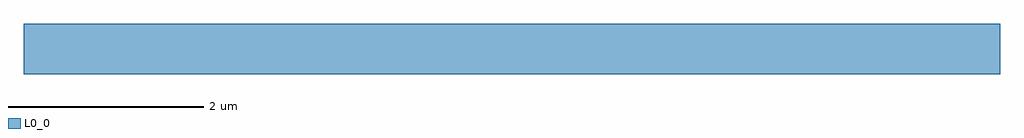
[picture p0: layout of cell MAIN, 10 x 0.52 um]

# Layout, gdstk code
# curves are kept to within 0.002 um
import gdstk
lib = gdstk.Library(unit=1e-6, precision=1e-09)
def R(c, l, rs):  # rectangles x0, y0, x1, y1
    for r in rs: c.add(gdstk.rectangle(r[:2], r[2:], *l))
def P(c, l, *ps):  # polygons
    for p in ps: c.add(gdstk.Polygon(p, *l))
L0_0 = (0, 0)

main = lib.new_cell('MAIN')
R(main, L0_0, [(-5,-0.26,5,0.26)])
P(main, L0_0, [(0.169,0.033),(0.169,0.032),(0.168,0.032),(0.167,0.03),(0.167,0.028),(0.166,0.028),(0.166,0.026),(0.165,0.026),(0.165,0.024),(0.164,0.024),(0.164,0.021),(0.163,0.021),(0.163,0.018),(0.162,0.018),(0.162,0.014),(0.161,0.014),(0.161,0.008),(0.16,0.008),(0.16,-0.008),(0.161,-0.008),(0.161,-0.014),(0.162,-0.014),(0.162,-0.018),(0.163,-0.018),(0.164,-0.024),(0.165,-0.024),(0.165,-0.026),(0.166,-0.026),(0.166,-0.028),(0.167,-0.028),(0.167,-0.03),(0.168,-0.032),(0.169,-0.032),(0.169,-0.033)],
  [(0.193,0.056),(0.185,0.052),(0.169,0.034),(0.169,-0.034),(0.191,-0.056),(0.193,-0.056)],
  [(0.225,0.065),(0.211,0.064),(0.193,0.057),(0.193,-0.057),(0.217,-0.065),(0.225,-0.065)],
  [(0.225,-0.065),(0.239,-0.064),(0.257,-0.057),(0.257,0.057),(0.233,0.065),(0.225,0.065)],
  [(0.258,-0.056),(0.265,-0.052),(0.281,-0.034),(0.281,0.034),(0.259,0.056),(0.257,0.056)],
  [(0.281,-0.032),(0.282,-0.032),(0.283,-0.028),(0.284,-0.028),(0.284,-0.026),(0.285,-0.026),(0.285,-0.024),(0.286,-0.024),(0.286,-0.021),(0.287,-0.021),(0.287,-0.018),(0.288,-0.018),(0.288,-0.014),(0.289,-0.014),(0.289,-0.008),(0.29,-0.008),(0.29,0.008),(0.289,0.008),(0.289,0.014),(0.288,0.014),(0.288,0.018),(0.287,0.018),(0.286,0.024),(0.285,0.024),(0.285,0.026),(0.284,0.026),(0.284,0.028),(0.283,0.028),(0.283,0.03),(0.282,0.032),(0.281,0.032),(0.281,0.033)],
  [(-0.281,0.033),(-0.281,0.032),(-0.282,0.032),(-0.283,0.03),(-0.283,0.028),(-0.284,0.028),(-0.284,0.026),(-0.285,0.026),(-0.285,0.024),(-0.286,0.024),(-0.286,0.021),(-0.287,0.021),(-0.287,0.018),(-0.288,0.018),(-0.288,0.014),(-0.289,0.014),(-0.289,0.008),(-0.29,0.008),(-0.29,-0.008),(-0.289,-0.008),(-0.289,-0.014),(-0.288,-0.014),(-0.288,-0.018),(-0.287,-0.018),(-0.286,-0.024),(-0.285,-0.024),(-0.285,-0.026),(-0.284,-0.026),(-0.284,-0.028),(-0.283,-0.028),(-0.283,-0.03),(-0.282,-0.032),(-0.281,-0.032),(-0.281,-0.033)],
  [(-0.257,0.056),(-0.265,0.052),(-0.281,0.034),(-0.281,-0.034),(-0.259,-0.056),(-0.257,-0.056)],
  [(-0.225,0.065),(-0.239,0.064),(-0.257,0.057),(-0.257,-0.057),(-0.233,-0.065),(-0.225,-0.065)],
  [(-0.225,-0.065),(-0.211,-0.064),(-0.193,-0.057),(-0.193,0.057),(-0.217,0.065),(-0.225,0.065)],
  [(-0.192,-0.056),(-0.185,-0.052),(-0.169,-0.034),(-0.169,0.034),(-0.191,0.056),(-0.193,0.056)],
  [(-0.169,-0.032),(-0.168,-0.032),(-0.167,-0.028),(-0.166,-0.028),(-0.166,-0.026),(-0.165,-0.026),(-0.165,-0.024),(-0.164,-0.024),(-0.164,-0.021),(-0.163,-0.021),(-0.163,-0.018),(-0.162,-0.018),(-0.162,-0.014),(-0.161,-0.014),(-0.161,-0.008),(-0.16,-0.008),(-0.16,0.008),(-0.161,0.008),(-0.161,0.014),(-0.162,0.014),(-0.162,0.018),(-0.163,0.018),(-0.164,0.024),(-0.165,0.024),(-0.165,0.026),(-0.166,0.026),(-0.166,0.028),(-0.167,0.028),(-0.167,0.03),(-0.168,0.032),(-0.169,0.032),(-0.169,0.033)],
  [(0.546,-0.08),(0.554,-0.08),(0.554,-0.079),(0.56,-0.079),(0.56,-0.078),(0.568,-0.077),(0.574,-0.075),(0.574,-0.074),(0.579,-0.073),(0.579,-0.072),(0.581,-0.072),(0.581,-0.071),(0.583,-0.071),(0.583,-0.07),(0.585,-0.069),(0.505,-0.069),(0.507,-0.07),(0.507,-0.071),(0.511,-0.072),(0.511,-0.073),(0.516,-0.074),(0.516,-0.075),(0.522,-0.077),(0.53,-0.078),(0.53,-0.079),(0.536,-0.079),(0.536,-0.08)],
  [(0.586,-0.069),(0.602,-0.057),(0.614,-0.04),(0.476,-0.04),(0.488,-0.057),(0.504,-0.069)],
  [(0.615,-0.039),(0.622,-0.023),(0.625,0),(0.465,0),(0.468,-0.023),(0.476,-0.04)],
  [(0.625,0.001),(0.622,0.023),(0.614,0.04),(0.476,0.04),(0.465,0.009),(0.465,0)],
  [(0.614,0.04),(0.602,0.057),(0.586,0.069),(0.504,0.069),(0.488,0.057),(0.476,0.041)],
  [(0.585,0.069),(0.583,0.07),(0.583,0.071),(0.579,0.072),(0.579,0.073),(0.574,0.074),(0.574,0.075),(0.564,0.078),(0.56,0.078),(0.56,0.079),(0.554,0.079),(0.554,0.08),(0.536,0.08),(0.536,0.079),(0.53,0.079),(0.53,0.078),(0.526,0.078),(0.516,0.075),(0.516,0.074),(0.511,0.073),(0.511,0.072),(0.509,0.072),(0.509,0.071),(0.507,0.071),(0.507,0.07),(0.505,0.069)],
  [(-0.544,-0.08),(-0.536,-0.08),(-0.536,-0.079),(-0.53,-0.079),(-0.53,-0.078),(-0.522,-0.077),(-0.516,-0.075),(-0.516,-0.074),(-0.511,-0.073),(-0.511,-0.072),(-0.509,-0.072),(-0.509,-0.071),(-0.507,-0.071),(-0.507,-0.07),(-0.505,-0.069),(-0.585,-0.069),(-0.583,-0.07),(-0.583,-0.071),(-0.579,-0.072),(-0.579,-0.073),(-0.574,-0.074),(-0.574,-0.075),(-0.568,-0.077),(-0.56,-0.078),(-0.56,-0.079),(-0.554,-0.079),(-0.554,-0.08)],
  [(-0.504,-0.069),(-0.488,-0.057),(-0.476,-0.04),(-0.614,-0.04),(-0.602,-0.057),(-0.586,-0.069)],
  [(-0.475,-0.039),(-0.468,-0.023),(-0.465,0),(-0.625,0),(-0.622,-0.023),(-0.614,-0.04)],
  [(-0.465,0.001),(-0.468,0.023),(-0.476,0.04),(-0.614,0.04),(-0.625,0.009),(-0.625,0)],
  [(-0.476,0.04),(-0.488,0.057),(-0.504,0.069),(-0.586,0.069),(-0.602,0.057),(-0.614,0.041)],
  [(-0.505,0.069),(-0.507,0.07),(-0.507,0.071),(-0.511,0.072),(-0.511,0.073),(-0.516,0.074),(-0.516,0.075),(-0.526,0.078),(-0.53,0.078),(-0.53,0.079),(-0.536,0.079),(-0.536,0.08),(-0.554,0.08),(-0.554,0.079),(-0.56,0.079),(-0.56,0.078),(-0.564,0.078),(-0.574,0.075),(-0.574,0.074),(-0.579,0.073),(-0.579,0.072),(-0.581,0.072),(-0.581,0.071),(-0.583,0.071),(-0.583,0.07),(-0.585,0.069)],
  [(0.886,-0.095),(0.895,-0.095),(0.895,-0.094),(0.902,-0.094),(0.902,-0.093),(0.914,-0.091),(0.914,-0.09),(0.922,-0.088),(0.922,-0.087),(0.924,-0.087),(0.924,-0.086),(0.926,-0.086),(0.933,-0.082),(0.837,-0.082),(0.844,-0.086),(0.846,-0.086),(0.846,-0.087),(0.848,-0.087),(0.848,-0.088),(0.856,-0.09),(0.856,-0.091),(0.868,-0.093),(0.868,-0.094),(0.875,-0.094),(0.875,-0.095)],
  [(0.933,-0.082),(0.955,-0.065),(0.967,-0.047),(0.803,-0.047),(0.815,-0.065),(0.837,-0.082)],
  [(0.968,-0.047),(0.976,-0.029),(0.98,0),(0.79,0),(0.794,-0.029),(0.802,-0.047)],
  [(0.98,0.001),(0.976,0.029),(0.968,0.047),(0.802,0.047),(0.794,0.029),(0.79,0.01),(0.79,0)],
  [(0.967,0.048),(0.955,0.065),(0.933,0.082),(0.837,0.082),(0.815,0.065),(0.803,0.047)],
  [(0.932,0.082),(0.932,0.083),(0.924,0.086),(0.922,0.088),(0.917,0.089),(0.917,0.09),(0.902,0.093),(0.902,0.094),(0.895,0.094),(0.895,0.095),(0.868,0.094),(0.868,0.093),(0.853,0.09),(0.853,0.089),(0.848,0.088),(0.848,0.087),(0.846,0.087),(0.846,0.086),(0.844,0.086),(0.837,0.082)],
  [(-0.884,-0.095),(-0.875,-0.095),(-0.875,-0.094),(-0.868,-0.094),(-0.868,-0.093),(-0.856,-0.091),(-0.856,-0.09),(-0.848,-0.088),(-0.848,-0.087),(-0.846,-0.087),(-0.846,-0.086),(-0.844,-0.086),(-0.837,-0.082),(-0.933,-0.082),(-0.926,-0.086),(-0.924,-0.086),(-0.924,-0.087),(-0.922,-0.087),(-0.922,-0.088),(-0.914,-0.09),(-0.914,-0.091),(-0.902,-0.093),(-0.902,-0.094),(-0.895,-0.094),(-0.895,-0.095)],
  [(-0.837,-0.082),(-0.815,-0.065),(-0.803,-0.047),(-0.967,-0.047),(-0.955,-0.065),(-0.933,-0.082)],
  [(-0.802,-0.047),(-0.794,-0.029),(-0.79,0),(-0.98,0),(-0.976,-0.029),(-0.968,-0.047)],
  [(-0.79,0.001),(-0.794,0.029),(-0.802,0.047),(-0.968,0.047),(-0.976,0.029),(-0.98,0.01),(-0.98,0)],
  [(-0.803,0.048),(-0.815,0.065),(-0.837,0.082),(-0.933,0.082),(-0.955,0.065),(-0.967,0.047)],
  [(-0.838,0.082),(-0.838,0.083),(-0.846,0.086),(-0.848,0.088),(-0.853,0.089),(-0.853,0.09),(-0.868,0.093),(-0.868,0.094),(-0.875,0.094),(-0.875,0.095),(-0.902,0.094),(-0.902,0.093),(-0.917,0.09),(-0.917,0.089),(-0.922,0.088),(-0.922,0.087),(-0.924,0.087),(-0.924,0.086),(-0.926,0.086),(-0.933,0.082)],
  [(1.159,0.05),(1.156,0.047),(1.151,0.033),(1.15,0.033),(1.145,0.009),(1.145,-0.009),(1.147,-0.022),(1.148,-0.022),(1.15,-0.033),(1.151,-0.033),(1.152,-0.038),(1.158,-0.05),(1.159,-0.05)],
  [(1.195,0.087),(1.178,0.075),(1.159,0.051),(1.159,-0.051),(1.17,-0.067),(1.195,-0.087)],
  [(1.245,0.1),(1.219,0.097),(1.195,0.087),(1.195,-0.087),(1.212,-0.095),(1.236,-0.1),(1.245,-0.1)],
  [(1.246,-0.1),(1.271,-0.097),(1.295,-0.087),(1.295,0.087),(1.278,0.095),(1.254,0.1),(1.245,0.1)],
  [(1.295,-0.086),(1.312,-0.075),(1.331,-0.051),(1.331,0.051),(1.32,0.067),(1.295,0.087)],
  [(1.332,-0.05),(1.338,-0.038),(1.339,-0.033),(1.34,-0.033),(1.342,-0.022),(1.343,-0.022),(1.345,-0.009),(1.345,0.009),(1.34,0.033),(1.339,0.033),(1.334,0.047),(1.331,0.05),(1.331,-0.05)],
  [(-1.331,0.05),(-1.334,0.047),(-1.339,0.033),(-1.34,0.033),(-1.345,0.009),(-1.345,-0.009),(-1.343,-0.022),(-1.342,-0.022),(-1.34,-0.033),(-1.339,-0.033),(-1.338,-0.038),(-1.332,-0.05),(-1.331,-0.05)],
  [(-1.295,0.087),(-1.312,0.075),(-1.331,0.051),(-1.331,-0.051),(-1.32,-0.067),(-1.295,-0.087)],
  [(-1.245,0.1),(-1.271,0.097),(-1.295,0.087),(-1.295,-0.087),(-1.278,-0.095),(-1.254,-0.1),(-1.245,-0.1)],
  [(-1.244,-0.1),(-1.219,-0.097),(-1.195,-0.087),(-1.195,0.087),(-1.212,0.095),(-1.236,0.1),(-1.245,0.1)],
  [(-1.195,-0.086),(-1.178,-0.075),(-1.159,-0.051),(-1.159,0.051),(-1.17,0.067),(-1.195,0.087)],
  [(-1.158,-0.05),(-1.152,-0.038),(-1.151,-0.033),(-1.15,-0.033),(-1.148,-0.022),(-1.147,-0.022),(-1.145,-0.009),(-1.145,0.009),(-1.15,0.033),(-1.151,0.033),(-1.156,0.047),(-1.159,0.05),(-1.159,-0.05)],
  [(1.529,0.05),(1.526,0.047),(1.521,0.033),(1.52,0.033),(1.515,0.009),(1.515,-0.009),(1.517,-0.022),(1.518,-0.022),(1.52,-0.033),(1.521,-0.033),(1.522,-0.038),(1.528,-0.05),(1.529,-0.05)],
  [(1.565,0.087),(1.548,0.075),(1.529,0.051),(1.529,-0.051),(1.54,-0.067),(1.565,-0.087)],
  [(1.615,0.1),(1.589,0.097),(1.565,0.087),(1.565,-0.087),(1.582,-0.095),(1.606,-0.1),(1.615,-0.1)],
  [(1.616,-0.1),(1.641,-0.097),(1.665,-0.087),(1.665,0.087),(1.648,0.095),(1.624,0.1),(1.615,0.1)],
  [(1.665,-0.086),(1.682,-0.075),(1.701,-0.051),(1.701,0.051),(1.69,0.067),(1.665,0.087)],
  [(1.702,-0.05),(1.708,-0.038),(1.709,-0.033),(1.71,-0.033),(1.712,-0.022),(1.713,-0.022),(1.715,-0.009),(1.715,0.009),(1.71,0.033),(1.709,0.033),(1.704,0.047),(1.701,0.05),(1.701,-0.05)],
  [(-1.701,0.05),(-1.704,0.047),(-1.709,0.033),(-1.71,0.033),(-1.715,0.009),(-1.715,-0.009),(-1.713,-0.022),(-1.712,-0.022),(-1.71,-0.033),(-1.709,-0.033),(-1.708,-0.038),(-1.702,-0.05),(-1.701,-0.05)],
  [(-1.665,0.087),(-1.682,0.075),(-1.701,0.051),(-1.701,-0.051),(-1.69,-0.067),(-1.665,-0.087)],
  [(-1.615,0.1),(-1.641,0.097),(-1.665,0.087),(-1.665,-0.087),(-1.648,-0.095),(-1.624,-0.1),(-1.615,-0.1)],
  [(-1.614,-0.1),(-1.589,-0.097),(-1.565,-0.087),(-1.565,0.087),(-1.582,0.095),(-1.606,0.1),(-1.615,0.1)],
  [(-1.565,-0.086),(-1.548,-0.075),(-1.529,-0.051),(-1.529,0.051),(-1.54,0.067),(-1.565,0.087)],
  [(-1.528,-0.05),(-1.522,-0.038),(-1.521,-0.033),(-1.52,-0.033),(-1.518,-0.022),(-1.517,-0.022),(-1.515,-0.009),(-1.515,0.009),(-1.52,0.033),(-1.521,0.033),(-1.526,0.047),(-1.529,0.05),(-1.529,-0.05)],
  [(1.899,0.05),(1.896,0.047),(1.891,0.033),(1.89,0.033),(1.885,0.009),(1.885,-0.009),(1.887,-0.022),(1.888,-0.022),(1.89,-0.033),(1.891,-0.033),(1.892,-0.038),(1.898,-0.05),(1.899,-0.05)],
  [(1.935,0.087),(1.918,0.075),(1.899,0.051),(1.899,-0.051),(1.91,-0.067),(1.935,-0.087)],
  [(1.985,0.1),(1.959,0.097),(1.935,0.087),(1.935,-0.087),(1.952,-0.095),(1.976,-0.1),(1.985,-0.1)],
  [(1.986,-0.1),(2.011,-0.097),(2.035,-0.087),(2.035,0.087),(2.018,0.095),(1.994,0.1),(1.985,0.1)],
  [(2.035,-0.086),(2.052,-0.075),(2.071,-0.051),(2.071,0.051),(2.06,0.067),(2.035,0.087)],
  [(2.072,-0.05),(2.078,-0.038),(2.079,-0.033),(2.08,-0.033),(2.082,-0.022),(2.083,-0.022),(2.085,-0.009),(2.085,0.009),(2.08,0.033),(2.079,0.033),(2.074,0.047),(2.071,0.05),(2.071,-0.05)],
  [(-2.071,0.05),(-2.074,0.047),(-2.079,0.033),(-2.08,0.033),(-2.085,0.009),(-2.085,-0.009),(-2.083,-0.022),(-2.082,-0.022),(-2.08,-0.033),(-2.079,-0.033),(-2.078,-0.038),(-2.072,-0.05),(-2.071,-0.05)],
  [(-2.035,0.087),(-2.052,0.075),(-2.071,0.051),(-2.071,-0.051),(-2.06,-0.067),(-2.035,-0.087)],
  [(-1.985,0.1),(-2.011,0.097),(-2.035,0.087),(-2.035,-0.087),(-2.018,-0.095),(-1.994,-0.1),(-1.985,-0.1)],
  [(-1.984,-0.1),(-1.959,-0.097),(-1.935,-0.087),(-1.935,0.087),(-1.952,0.095),(-1.976,0.1),(-1.985,0.1)],
  [(-1.935,-0.086),(-1.918,-0.075),(-1.899,-0.051),(-1.899,0.051),(-1.91,0.067),(-1.935,0.087)],
  [(-1.898,-0.05),(-1.892,-0.038),(-1.891,-0.033),(-1.89,-0.033),(-1.888,-0.022),(-1.887,-0.022),(-1.885,-0.009),(-1.885,0.009),(-1.89,0.033),(-1.891,0.033),(-1.896,0.047),(-1.899,0.05),(-1.899,-0.05)],
  [(2.269,0.05),(2.266,0.047),(2.261,0.033),(2.26,0.033),(2.255,0.009),(2.255,-0.009),(2.257,-0.022),(2.258,-0.022),(2.26,-0.033),(2.261,-0.033),(2.262,-0.038),(2.268,-0.05),(2.269,-0.05)],
  [(2.305,0.087),(2.288,0.075),(2.269,0.051),(2.269,-0.051),(2.28,-0.067),(2.305,-0.087)],
  [(2.355,0.1),(2.329,0.097),(2.305,0.087),(2.305,-0.087),(2.322,-0.095),(2.346,-0.1),(2.355,-0.1)],
  [(2.356,-0.1),(2.381,-0.097),(2.405,-0.087),(2.405,0.087),(2.388,0.095),(2.364,0.1),(2.355,0.1)],
  [(2.405,-0.086),(2.422,-0.075),(2.441,-0.051),(2.441,0.051),(2.43,0.067),(2.405,0.087)],
  [(2.442,-0.05),(2.448,-0.038),(2.449,-0.033),(2.45,-0.033),(2.452,-0.022),(2.453,-0.022),(2.455,-0.009),(2.455,0.009),(2.45,0.033),(2.449,0.033),(2.444,0.047),(2.441,0.05),(2.441,-0.05)],
  [(-2.441,0.05),(-2.444,0.047),(-2.449,0.033),(-2.45,0.033),(-2.455,0.009),(-2.455,-0.009),(-2.453,-0.022),(-2.452,-0.022),(-2.45,-0.033),(-2.449,-0.033),(-2.448,-0.038),(-2.442,-0.05),(-2.441,-0.05)],
  [(-2.405,0.087),(-2.422,0.075),(-2.441,0.051),(-2.441,-0.051),(-2.43,-0.067),(-2.405,-0.087)],
  [(-2.355,0.1),(-2.381,0.097),(-2.405,0.087),(-2.405,-0.087),(-2.388,-0.095),(-2.364,-0.1),(-2.355,-0.1)],
  [(-2.354,-0.1),(-2.329,-0.097),(-2.305,-0.087),(-2.305,0.087),(-2.322,0.095),(-2.346,0.1),(-2.355,0.1)],
  [(-2.305,-0.086),(-2.288,-0.075),(-2.269,-0.051),(-2.269,0.051),(-2.28,0.067),(-2.305,0.087)],
  [(-2.268,-0.05),(-2.262,-0.038),(-2.261,-0.033),(-2.26,-0.033),(-2.258,-0.022),(-2.257,-0.022),(-2.255,-0.009),(-2.255,0.009),(-2.26,0.033),(-2.261,0.033),(-2.266,0.047),(-2.269,0.05),(-2.269,-0.05)],
  [(2.639,0.05),(2.636,0.047),(2.631,0.033),(2.63,0.033),(2.625,0.009),(2.625,-0.009),(2.627,-0.022),(2.628,-0.022),(2.63,-0.033),(2.631,-0.033),(2.632,-0.038),(2.638,-0.05),(2.639,-0.05)],
  [(2.675,0.087),(2.658,0.075),(2.639,0.051),(2.639,-0.051),(2.65,-0.067),(2.675,-0.087)],
  [(2.725,0.1),(2.699,0.097),(2.675,0.087),(2.675,-0.087),(2.692,-0.095),(2.716,-0.1),(2.725,-0.1)],
  [(2.726,-0.1),(2.751,-0.097),(2.775,-0.087),(2.775,0.087),(2.758,0.095),(2.734,0.1),(2.725,0.1)],
  [(2.775,-0.086),(2.792,-0.075),(2.811,-0.051),(2.811,0.051),(2.8,0.067),(2.775,0.087)],
  [(2.812,-0.05),(2.818,-0.038),(2.819,-0.033),(2.82,-0.033),(2.822,-0.022),(2.823,-0.022),(2.825,-0.009),(2.825,0.009),(2.82,0.033),(2.819,0.033),(2.814,0.047),(2.811,0.05),(2.811,-0.05)],
  [(-2.811,0.05),(-2.814,0.047),(-2.819,0.033),(-2.82,0.033),(-2.825,0.009),(-2.825,-0.009),(-2.823,-0.022),(-2.822,-0.022),(-2.82,-0.033),(-2.819,-0.033),(-2.818,-0.038),(-2.812,-0.05),(-2.811,-0.05)],
  [(-2.775,0.087),(-2.792,0.075),(-2.811,0.051),(-2.811,-0.051),(-2.8,-0.067),(-2.775,-0.087)],
  [(-2.725,0.1),(-2.751,0.097),(-2.775,0.087),(-2.775,-0.087),(-2.758,-0.095),(-2.734,-0.1),(-2.725,-0.1)],
  [(-2.724,-0.1),(-2.699,-0.097),(-2.675,-0.087),(-2.675,0.087),(-2.692,0.095),(-2.716,0.1),(-2.725,0.1)],
  [(-2.675,-0.086),(-2.658,-0.075),(-2.639,-0.051),(-2.639,0.051),(-2.65,0.067),(-2.675,0.087)],
  [(-2.638,-0.05),(-2.632,-0.038),(-2.631,-0.033),(-2.63,-0.033),(-2.628,-0.022),(-2.627,-0.022),(-2.625,-0.009),(-2.625,0.009),(-2.63,0.033),(-2.631,0.033),(-2.636,0.047),(-2.639,0.05),(-2.639,-0.05)])

lib.write_gds('MAIN.gds')
